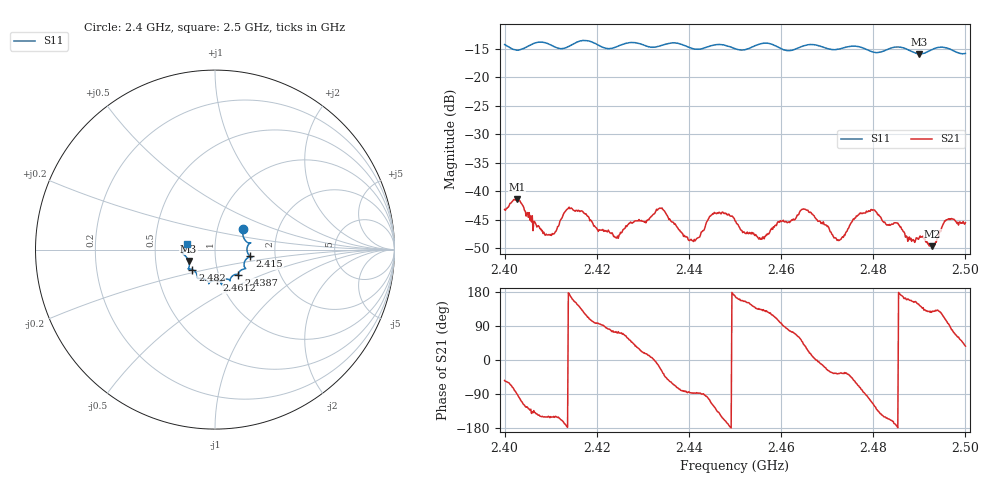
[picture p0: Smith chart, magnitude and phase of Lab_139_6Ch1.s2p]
# Hz S RI R 50
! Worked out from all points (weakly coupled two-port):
!   601 points, 2.4 GHz to 2.5 GHz, reference 50 ohm
!   highest |S21| = -41.40 dB at 2.4027 GHz (marker M1); lowest = -49.6 dB at 2.4928 GHz (marker M2)
!   lowest |S11| = -15.9 dB at 2.49 GHz (marker M3), VSWR 1.38, Z = 36.9 - j4.85 ohm
!   |S11| at or under -10 dB: start of sweep to end of sweep
!   S12 and S22 are empty: the file has one direction only
!   S11 on the Smith chart (normalised r, x): 2.4 GHz: 1.33, +0.31; 2.415 GHz: 1.47, -0.11; 2.4387 GHz: 1.24, -0.36; 2.4612 GHz: 0.96, -0.34; 2.482 GHz: 0.76, -0.17; 2.5 GHz: 0.73, +0.05
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2.4e9  0.1573 0.1124  0.00406 -0.00562  0 0  0 0
2.402667e9  0.159 0.0678  6.05e-05 -0.00851  0 0  0 0
2.409167e9  0.1952 0.0365  -0.00362 -0.00204  0 0  0 0
2.415e9  0.193 -0.0363  -0.00621 0.00277  0 0  0 0
2.416667e9  0.2043 -0.0441  -0.00467 0.00485  0 0  0 0
2.424167e9  0.1619 -0.0876  0.00102 0.00378  0 0  0 0
2.433333e9  0.1319 -0.1317  0.0068 -0.00161  0 0  0 0
2.438667e9  0.1305 -0.1412  0.00068 -0.00416  0 0  0 0
2.441833e9  0.1008 -0.1442  0.000156 -0.00388  0 0  0 0
2.445667e9  0.0831 -0.1734  -0.0038 -0.0052  0 0  0 0
2.45e9  0.0686 -0.1643  -0.00539 0.00108  0 0  0 0
2.4555e9  0.0354 -0.1929  -0.00261 0.00275  0 0  0 0
2.461167e9  0.0102 -0.1713  0.000605 0.00537  0 0  0 0
2.466667e9  -0.0345 -0.1905  0.00621 0.00126  0 0  0 0
2.4725e9  -0.0723 -0.1604  0.00301 -0.00215  0 0  0 0
2.477167e9  -0.0972 -0.1564  0.00194 -0.00617  0 0  0 0
2.482e9  -0.1262 -0.1112  -0.00456 -0.00308  0 0  0 0
2.483333e9  -0.1398 -0.1084  -0.00459 -0.00207  0 0  0 0
2.49e9  -0.147 -0.064  -0.0032 0.0023  0 0  0 0
2.492833e9  -0.1731 -0.0278  -0.00207 0.00257  0 0  0 0
2.495833e9  -0.1802 -0.0175  -0.00135 0.00546  0 0  0 0
2.5e9  -0.1582 0.0325  0.00425 0.00317  0 0  0 0
